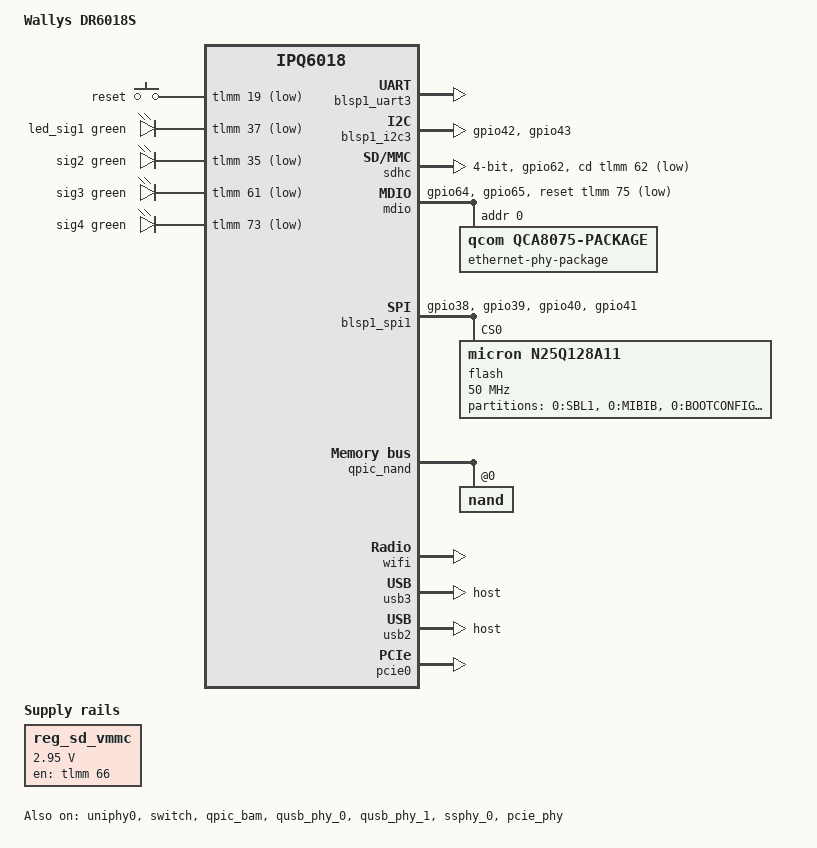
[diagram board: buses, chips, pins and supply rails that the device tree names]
// SPDX-License-Identifier: (GPL-2.0+)

/dts-v1/;

#include "ipq6018.dtsi"
#include "ipq6018-ess.dtsi"
#include <dt-bindings/gpio/gpio.h>
#include <dt-bindings/input/input.h>
#include <dt-bindings/leds/common.h>

/ {
	model = "Wallys DR6018S";
	compatible = "wallys,dr6018s", "qcom,ipq6018-cp01", "qcom,ipq6018";

	aliases {
		serial0 = &blsp1_uart3;
		ethernet0 = &swport1;
		ethernet1 = &swport2;
		label-mac-device = &swport2;

		led-boot = &led_sig1;
		led-failsafe = &led_sig1;
		led-running = &led_sig1;
		led-upgrade = &led_sig1;
	};

	chosen {
		stdout-path = "serial0:115200n8";
		bootargs-append = " root=/dev/ubiblock0_1";
	};

	keys {
		compatible = "gpio-keys";

		reset {
			label = "reset";
			gpios = <&tlmm 19 GPIO_ACTIVE_LOW>;
			linux,code = <KEY_RESTART>;
		};
	};

	leds {
		compatible = "gpio-leds";
		pinctrl-0 = <&led_pins>;
		pinctrl-names = "default";

		led_sig1: sig1 {
			color = <LED_COLOR_ID_GREEN>;
			function = LED_FUNCTION_STATUS;
			gpios = <&tlmm 37 GPIO_ACTIVE_LOW>;
		};

		sig2 {
			color = <LED_COLOR_ID_GREEN>;
			function = LED_FUNCTION_WLAN;
			function-enumerator = <0>;
			gpios = <&tlmm 35 GPIO_ACTIVE_LOW>;
		};

		sig3 {
			color = <LED_COLOR_ID_GREEN>;
			function = LED_FUNCTION_WLAN;
			function-enumerator = <1>;
			gpios = <&tlmm 61 GPIO_ACTIVE_LOW>;
		};

		sig4 {
			color = <LED_COLOR_ID_GREEN>;
			function = LED_FUNCTION_LAN;
			gpios = <&tlmm 73 GPIO_ACTIVE_LOW>;
		};
	};

	reg_sd_vmmc: regulator-sdcard-vmmc {
		compatible = "regulator-fixed";
		regulator-name = "sdcard-vmmc";
		regulator-min-microvolt = <2950000>;
		regulator-max-microvolt = <2950000>;
		startup-delay-us = <200>;
		gpios = <&tlmm 66 GPIO_ACTIVE_HIGH>;
		enable-active-high;
		pinctrl-names = "default";
		pinctrl-0 = <&sd_vmmc_en_default>;
	};
};

&blsp1_uart3 {
	pinctrl-0 = <&serial_3_pins>;
	pinctrl-names = "default";
	status = "okay";
};

&blsp1_i2c3 {
	pinctrl-0 = <&i2c_1_pins>;
	pinctrl-names = "default";
	status = "okay";
};

&rpm {
	status = "disabled";
};

&tlmm {
	/* TZ has exclusive control over GPIO20. */
	gpio-reserved-ranges = <20 1>;

	mdio_pins: mdio-pins {
		mdc {
			pins = "gpio64";
			function = "mdc";
			drive-strength = <8>;
			bias-pull-up;
		};

		mdio {
			pins = "gpio65";
			function = "mdio";
			drive-strength = <8>;
			bias-pull-up;
		};
	};

	i2c_1_pins: i2c-1-state {
		pins = "gpio42", "gpio43";
		function = "blsp2_i2c";
		drive-strength = <8>;
	};

	spi_0_pins: spi-0-state {
		pins = "gpio38", "gpio39", "gpio40", "gpio41";
		function = "blsp0_spi";
		drive-strength = <8>;
		bias-pull-down;
	};

	led_pins: led-pins {
		pins = "gpio35", "gpio37", "gpio61", "gpio73";
		function = "gpio";
		drive-strength = <8>;
		bias-pull-down;
	};

	sd_vmmc_en_default: sd-vmmc-en-default-state {
		pins = "gpio66";
		function = "gpio";
		drive-strength = <8>;
		bias-pull-down;
	};

	sd_pins: sd-state {
		pins = "gpio62";
		function = "gpio";
		drive-strength = <8>;
		bias-pull-up;
	};
};

&edma {
	status = "okay";
};

&sdhc {
	pinctrl-0 = <&sd_pins>;
	pinctrl-names = "default";
	status = "okay";

	cd-gpios = <&tlmm 62 GPIO_ACTIVE_LOW>;
	vqmmc-supply = <&reg_sd_vmmc>;
	bus-width = <4>;
};

&uniphy0 {
	status = "okay";
};

&switch {
	status = "okay";

	ports {
		#address-cells = <1>;
		#size-cells = <0>;

		port@0 {
			reg = <0>;
			ethernet = <&edma>;
			phy-mode = "internal";

			fixed-link {
				speed = <1000>;
				full-duplex;
			};
		};

		swport1: port@1 {
			reg = <1>;
			label = "wan";
			phy-handle = <&qca8075_0>;
			phy-mode = "psgmii";
			pcs-handle = <&uniphy0 0>;
			nvmem-cell-names = "mac-address";
			nvmem-cells = <&ethaddr 0>;
		};

		swport2: port@2 {
			reg = <2>;
			label = "lan";
			phy-handle = <&qca8075_1>;
			phy-mode = "psgmii";
			pcs-handle = <&uniphy0 1>;
			nvmem-cell-names = "mac-address";
			nvmem-cells = <&eth1addr 0>;
		};
	};
};

&mdio {
	status = "okay";
	pinctrl-0 = <&mdio_pins>;
	pinctrl-names = "default";
	reset-gpios = <&tlmm 75 GPIO_ACTIVE_LOW>;
	reset-delay-us = <10000>;
	reset-post-delay-us = <50000>;

	ethernet-phy-package@0 {
		#address-cells = <1>;
		#size-cells = <0>;
		compatible = "qcom,qca8075-package";
		reg = <0>;

		qcom,package-mode = "psgmii";

		qca8075_0: ethernet-phy@0 {
			compatible = "ethernet-phy-ieee802.3-c22";
			reg = <0>;
		};

		qca8075_1: ethernet-phy@1 {
			compatible = "ethernet-phy-ieee802.3-c22";
			reg = <1>;
		};
	};
};

&blsp1_spi1 {
	pinctrl-0 = <&spi_0_pins>;
	pinctrl-names = "default";
	status = "okay";

	flash@0 {
		reg = <0>;
		linux,modalias = "m25p80", "mx30uf2g18ac", "n25q128a11";
		compatible = "micron,n25q128a11", "jedec,spi-nor";
		spi-max-frequency = <50000000>;

		partitions {
			compatible = "fixed-partitions";
			#address-cells = <1>;
			#size-cells = <1>;

			partition@0 {
				label = "0:SBL1";
				reg = <0x0 0xc0000>;
				read-only;
			};

			partition@c0000 {
				label = "0:MIBIB";
				reg = <0xc0000 0x10000>;
				read-only;
			};

			partition@d0000 {
				label = "0:BOOTCONFIG";
				reg = <0xd0000 0x20000>;
				read-only;
			};

			partition@f0000 {
				label = "0:BOOTCONFIG1";
				reg = <0xf0000 0x20000>;
				read-only;
			};

			partition@110000 {
				label = "0:QSEE";
				reg = <0x110000 0x1a0000>;
				read-only;
			};

			partition@2b0000 {
				label = "0:QSEE_1";
				reg = <0x2b0000 0x1a0000>;
				read-only;
			};

			partition@450000 {
				label = "0:DEVCFG";
				reg = <0x450000 0x10000>;
				read-only;
			};

			partition@460000 {
				label = "mfginfo";
				reg = <0x460000 0x10000>;
				read-only;
			};

			partition@470000 {
				label = "0:RPM";
				reg = <0x470000 0x40000>;
				read-only;
			};

			partition@4b0000 {
				label = "0:RPM_1";
				reg = <0x4b0000 0x40000>;
				read-only;
			};

			partition@4f0000 {
				label = "0:CDT";
				reg = <0x4f0000 0x10000>;
				read-only;
			};

			partition@500000 {
				label = "0:CDT_1";
				reg = <0x500000 0x10000>;
				read-only;
			};

			partition@510000 {
				label = "0:APPSBLENV";
				reg = <0x510000 0x10000>;

				nvmem-layout {
					compatible = "u-boot,env";

					ethaddr: ethaddr {
						#nvmem-cell-cells = <0>;
					};

					eth1addr: eth1addr {
						#nvmem-cell-cells = <0>;
					};
				};
			};

			partition@520000 {
				label = "0:APPSBL";
				reg = <0x520000 0xa0000>;
				read-only;
			};

			partition@5c0000 {
				label = "0:APPSBL_1";
				reg = <0x5c0000 0xa0000>;
				read-only;
			};

			partition@660000 {
				label = "0:ART";
				reg = <0x660000 0x80000>;
				read-only;
			};
		};
	};
};

&qpic_bam {
	status = "okay";
};

&qpic_nand {
	status = "okay";

	nand@0 {
		reg = <0>;

		nand-ecc-strength = <8>;
		nand-ecc-step-size = <512>;
		nand-bus-width = <8>;

		partitions {
			compatible = "qcom,smem-part";
		};
	};
};

&wifi {
	status = "okay";
	qcom,ath11k-calibration-variant = "Wallys-DR6018S";
	qcom,ath11k-fw-memory-mode = <1>;
};

&qusb_phy_0 {
	status = "okay";
};

&qusb_phy_1 {
	status = "okay";
};

&ssphy_0 {
	status = "okay";
};

&usb3 {
	dr_mode = "host";
	status = "okay";
};

&usb2 {
	dr_mode = "host";
	status = "okay";
};

&pcie_phy {
	status = "okay";
};

&pcie0 {
	status = "okay";
};
